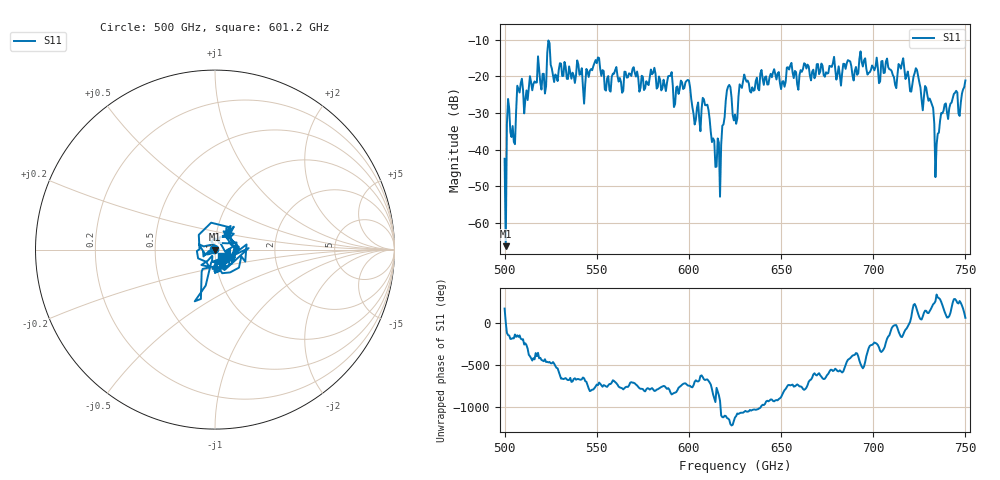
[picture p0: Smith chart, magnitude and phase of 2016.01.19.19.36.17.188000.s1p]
!Created with skrf (http://scikit-rf.org).
# GHz S RI R 50.0
!freq ReS11 ImS11
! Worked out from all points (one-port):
!   401 points, 500 GHz to 750 GHz, reference 50 ohm
!   lowest |S11| = -66.4 dB at 500.6 GHz (marker M1), VSWR 1.00, Z = 50 + j0.00434 ohm
!   |S11| at or under -10 dB: start of sweep to end of sweep
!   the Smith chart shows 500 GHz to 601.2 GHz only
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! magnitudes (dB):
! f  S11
! 500 GHz  -42.5
! 500.6 GHz  -66.4
! 502.5 GHz  -28.7
! 504.4 GHz  -33.6
! 508.1 GHz  -24.4
! 521.2 GHz  -19.3
! 524.4 GHz  -10.9
! 527.5 GHz  -19.5
! 531.2 GHz  -19.9
! 543.8 GHz  -22.1
! 550 GHz  -16.4
! 562.5 GHz  -20.4
! 580.6 GHz  -19.0
! 593.8 GHz  -22.8
! 599.4 GHz  -21.0
! 605 GHz  -27.1
! 608.8 GHz  -27.8
! 615.6 GHz  -37.0
! 621.2 GHz  -22.8
! 625 GHz  -30.5
! 630.6 GHz  -20.6
! 656.2 GHz  -18.9
! 687.5 GHz  -15.9
! 718.8 GHz  -18.7
! 729.4 GHz  -25.2
! 734.4 GHz  -38.6
! 738.1 GHz  -29.4
! 750 GHz  -21.1
